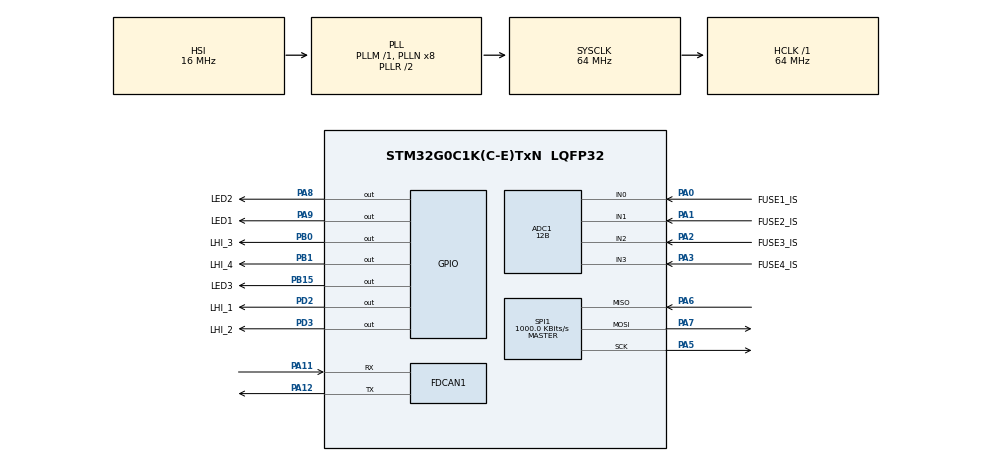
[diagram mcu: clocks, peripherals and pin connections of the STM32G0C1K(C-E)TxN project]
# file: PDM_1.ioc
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ADC1.Channel-0\#ChannelRegularConversion=ADC_CHANNEL_3
ADC1.Channel-1\#ChannelRegularConversion=ADC_CHANNEL_2
ADC1.Channel-2\#ChannelRegularConversion=ADC_CHANNEL_1
ADC1.Channel-3\#ChannelRegularConversion=ADC_CHANNEL_0
ADC1.ClockPrescaler=ADC_CLOCK_ASYNC_DIV8
ADC1.ContinuousConvMode=ENABLE
ADC1.DMAContinuousRequests=ENABLE
ADC1.NbrOfConversion=4
ADC1.NbrOfConversionFlag=1
ADC1.Rank-0\#ChannelRegularConversion=1
ADC1.Rank-1\#ChannelRegularConversion=2
ADC1.Rank-2\#ChannelRegularConversion=3
ADC1.Rank-3\#ChannelRegularConversion=4
ADC1.Resolution=ADC_RESOLUTION_12B
ADC1.SamplingTime-0\#ChannelRegularConversion=ADC_SAMPLINGTIME_COMMON_1
ADC1.SamplingTime-1\#ChannelRegularConversion=ADC_SAMPLINGTIME_COMMON_1
ADC1.SamplingTime-2\#ChannelRegularConversion=ADC_SAMPLINGTIME_COMMON_1
ADC1.SamplingTime-3\#ChannelRegularConversion=ADC_SAMPLINGTIME_COMMON_1
ADC1.SamplingTimeCommon1=ADC_SAMPLETIME_79CYCLES_5
ADC1.SamplingTimeCommon2=ADC_SAMPLETIME_19CYCLES_5
ADC1.SelectedChannel=ADC_CHANNEL_0|ADC_CHANNEL_1|ADC_CHANNEL_2|ADC_CHANNEL_3
ADC1.master=1
Dma.ADC1.0.Direction=DMA_PERIPH_TO_MEMORY
Dma.ADC1.0.EventEnable=DISABLE
Dma.ADC1.0.Instance=DMA1_Channel1
Dma.ADC1.0.MemDataAlignment=DMA_MDATAALIGN_HALFWORD
Dma.ADC1.0.MemInc=DMA_MINC_ENABLE
Dma.ADC1.0.Mode=DMA_CIRCULAR
Dma.ADC1.0.PeriphDataAlignment=DMA_PDATAALIGN_HALFWORD
Dma.ADC1.0.PeriphInc=DMA_PINC_DISABLE
Dma.ADC1.0.Polarity=HAL_DMAMUX_REQ_GEN_RISING
Dma.ADC1.0.Priority=DMA_PRIORITY_LOW
Dma.ADC1.0.RequestNumber=1
Dma.ADC1.0.SignalID=NONE
Dma.ADC1.0.SyncEnable=DISABLE
Dma.ADC1.0.SyncPolarity=HAL_DMAMUX_SYNC_NO_EVENT
Dma.ADC1.0.SyncRequestNumber=1
Dma.ADC1.0.SyncSignalID=NONE
Dma.Request0=ADC1
FDCAN1.CalculateBaudRateNominal=800000
FDCAN1.CalculateTimeBitNominal=1250
FDCAN1.CalculateTimeQuantumNominal=250.0
Mcu.Family=STM32G0
Mcu.Name=STM32G0C1K(C-E)TxN
Mcu.Package=LQFP32
NVIC.ADC1_COMP_IRQn=true\:0\:0\:false\:false\:true\:true\:true\:true
NVIC.DMA1_Channel1_IRQn=true\:0\:0\:false\:false\:true\:false\:true\:true
NVIC.SPI1_IRQn=true\:0\:0\:false\:false\:true\:true\:true\:true
PA0.GPIO_Label=FUSE1_IS
PA0.Mode=IN0
PA0.Signal=ADC1_IN0
PA1.GPIO_Label=FUSE2_IS
PA1.Mode=IN1
PA1.Signal=ADC1_IN1
PA11\ [PA9].Mode=FDCAN_Activate
PA11\ [PA9].Signal=FDCAN1_RX
PA12\ [PA10].Mode=FDCAN_Activate
PA12\ [PA10].Signal=FDCAN1_TX
PA13.Mode=Serial_Wire
PA13.Signal=SYS_SWDIO
PA14-BOOT0.Mode=Serial_Wire
PA14-BOOT0.Signal=SYS_SWCLK
PA2.GPIO_Label=FUSE3_IS
PA2.Mode=IN2
PA2.Signal=ADC1_IN2
PA3.GPIO_Label=FUSE4_IS
PA3.Mode=IN3
PA3.Signal=ADC1_IN3
PA4.Signal=SPI1_NSS
PA5.Mode=Full_Duplex_Master
PA5.Signal=SPI1_SCK
PA6.Mode=Full_Duplex_Master
PA6.Signal=SPI1_MISO
PA7.Mode=Full_Duplex_Master
PA7.Signal=SPI1_MOSI
PA8.GPIO_Label=LED2
PA8.Signal=GPIO_Output
PA9.GPIO_Label=LED1
PA9.Signal=GPIO_Output
PB0.GPIO_Label=LHI_3
PB0.Signal=GPIO_Output
PB1.GPIO_Label=LHI_4
PB1.Signal=GPIO_Output
PB15.GPIO_Label=LED3
PB15.Signal=GPIO_Output
PB6.Signal=USART1_TX
PB7.Signal=USART1_RX
PD2.GPIO_Label=LHI_1
PD2.Signal=GPIO_Output
PD3.GPIO_Label=LHI_2
PD3.Signal=GPIO_Output
ProjectManager.HeapSize=0x200
ProjectManager.StackSize=0x400
ProjectManager.TargetToolchain=STM32CubeIDE
RCC.ADCFreq_Value=64000000
RCC.AHBFreq_Value=64000000
RCC.CortexFreq_Value=64000000
RCC.EXTERNAL_CLOCK_VALUE=48000
RCC.HCLKFreq_Value=64000000
RCC.HSE_VALUE=8000000
RCC.HSI48_VALUE=48000000
RCC.HSI_VALUE=16000000
RCC.LSE_VALUE=32768
RCC.PLLP=RCC_PLLP_DIV4
RCC.PLLQ=RCC_PLLQ_DIV4
RCC.SYSCLKFreq_VALUE=64000000
RCC.SYSCLKSource=RCC_SYSCLKSOURCE_PLLCLK
RCC.USBFreq_Value=48000000
RCC.VCOOutputFreq_Value=128000000
SPI1.BaudRatePrescaler=SPI_BAUDRATEPRESCALER_64
SPI1.CalculateBaudRate=1000.0 KBits/s
SPI1.Direction=SPI_DIRECTION_2LINES
SPI1.Mode=SPI_MODE_MASTER
SPI1.VirtualType=VM_MASTER
VP_SYS_VS_DBSignals.Mode=DisableDeadBatterySignals
board=custom

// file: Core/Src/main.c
/* USER CODE BEGIN Header */
/**
  ******************************************************************************
  * @file           : main.c
  * @brief          : Main program body
  ******************************************************************************
  * @attention
  *
  * Copyright (c) 2024 STMicroelectronics.
  * All rights reserved.
  *
  * This software is licensed under terms that can be found in the LICENSE file
  * in the root directory of this software component.
  * If no LICENSE file comes with this software, it is provided AS-IS.
  *
  ******************************************************************************
  */
/* USER CODE END Header */
#include "main.h"

/* USER CODE BEGIN Includes */
#include <stdio.h>
/* USER CODE END Includes */

/* USER CODE BEGIN PD */
#define ADC_BUF_SIZE 4
#define __VREFANALOG_VOLTAGE__ 3300
#define OUT_READY 0x9F // 1000 1111
#define OUT_READY1 0x9F // 1000 1111
#define DCR_ACTIVE 0xF5 // 1111 0101
#define DCR_SLEEP 0xFF // 1111 1111
#define DCR_CHANNEL0 0xF8 // 1111 1000
#define DCR_CHANNEL1 0xF9 // 1111 1001
#define DCR_CHANNEL2 0xFA // 1111 1010
#define DCR_CHANNEL3 0xFB // 1111 1011
// Diagnosis Registers - Read Commands
#define WRNDIAG 0x01// 0000 0001
#define STDDIAG 0x02// 0000 0010
#define ERRDIAG 0x03// 0000 0011
// Configuration Registers - Read Commands
#define OUT_READ 0x00 // 0000 0000
#define RCS_READ 0x08 // 0000 1000
#define SRC_READ 0x09 // 0000 1001
#define OCR_READ 0x04 // 0000 0100
#define RCD_READ 0x0A // 0000 1100
#define KRC_READ 0x05 // 0000 0101
#define PCS_READ 0x0B // 0000 1101
#define HWCR_READ 0x05 // 0000 0110
#define ICS_READ 0x0B // 0000 1110
#define DCR_READ 0x07 // 0000 0111

/* USER CODE END PD */

ADC_HandleTypeDef hadc1;
DMA_HandleTypeDef hdma_adc1;

FDCAN_HandleTypeDef hfdcan1;

SPI_HandleTypeDef hspi1;

/* USER CODE BEGIN PV */
uint16_t adc_buffer[ADC_BUF_SIZE];
uint8_t adc_ready = 0;

uint8_t tx_buffer[5];
uint8_t rx_buffer[5 * 5];

uint32_t fuse1_is;
uint32_t fuse2_is;
uint32_t fuse3_is;
uint32_t fuse4_is;
int status_csn=2;
/* USER CODE END PV */

void SystemClock_Config(void);
static void MX_GPIO_Init(void);
static void MX_DMA_Init(void);
static void MX_FDCAN1_Init(void);
static void MX_SPI1_Init(void);
static void MX_ADC1_Init(void);

/* USER CODE BEGIN 0 */

volatile int error[5];
/* USER CODE END 0 */

int main(void)
{

  /* MCU Configuration--------------------------------------------------------*/

  /* Reset of all peripherals, Initializes the Flash interface and the Systick. */
  HAL_Init();

  /* Configure the system clock */
  SystemClock_Config();

  /* Initialize all configured peripherals */
  MX_GPIO_Init();
  MX_DMA_Init();
  MX_FDCAN1_Init();
  MX_SPI1_Init();
  MX_ADC1_Init();
  /* USER CODE BEGIN 2 */
  HAL_GPIO_WritePin(GPIOD, GPIO_PIN_2, GPIO_PIN_RESET);
  HAL_GPIO_WritePin(GPIOD, GPIO_PIN_3, GPIO_PIN_RESET);
  HAL_GPIO_WritePin(GPIOB, GPIO_PIN_0, GPIO_PIN_RESET);
  HAL_GPIO_WritePin(GPIOB, GPIO_PIN_1, GPIO_PIN_RESET);
  //HAL_SPI_TransmitReceive(&hspi1, tx_buffer, rx_buffer, 10, 100);
  // sleep -> ready
  tx_buffer[0] = OUT_READY;
  tx_buffer[1] = OUT_READY;
  tx_buffer[2] = OUT_READY;
  tx_buffer[3] = OUT_READY;
  HAL_GPIO_WritePin(GPIOA, GPIO_PIN_4, GPIO_PIN_RESET);
  error[0] = HAL_SPI_TransmitReceive(&hspi1, tx_buffer, rx_buffer + 0, 5, 100);
  HAL_GPIO_WritePin(GPIOA, GPIO_PIN_4, GPIO_PIN_SET);
  // ready -> active
  tx_buffer[0] = DCR_ACTIVE;
  tx_buffer[1] = DCR_ACTIVE;
  tx_buffer[2] = DCR_ACTIVE;
  tx_buffer[3] = DCR_ACTIVE;
  HAL_GPIO_WritePin(GPIOA, GPIO_PIN_4, GPIO_PIN_RESET);
  error[1] = HAL_SPI_TransmitReceive(&hspi1, tx_buffer, rx_buffer + 5, 5, 100);
  HAL_GPIO_WritePin(GPIOA, GPIO_PIN_4, GPIO_PIN_SET);
  // select channel 0
  tx_buffer[0] = OUT_READY;
  tx_buffer[1] = OUT_READY;
  tx_buffer[2] = OUT_READY;
  tx_buffer[3] = OUT_READY;
  HAL_GPIO_WritePin(GPIOA, GPIO_PIN_4, GPIO_PIN_RESET);
  error[2] = HAL_SPI_TransmitReceive(&hspi1, tx_buffer, rx_buffer + 10, 5, 100);
  HAL_GPIO_WritePin(GPIOA, GPIO_PIN_4, GPIO_PIN_SET);
  // status
  tx_buffer[0] = DCR_CHANNEL0;
  tx_buffer[1] = DCR_CHANNEL0;
  tx_buffer[2] = DCR_CHANNEL0;
  tx_buffer[3] = DCR_CHANNEL0;
  HAL_GPIO_WritePin(GPIOA, GPIO_PIN_4, GPIO_PIN_RESET);
  error[3] = HAL_SPI_TransmitReceive(&hspi1, tx_buffer, rx_buffer + 15, 5, 100);
  HAL_GPIO_WritePin(GPIOA, GPIO_PIN_4, GPIO_PIN_SET);

  // out read
    tx_buffer[0] = DCR_READ;
    tx_buffer[1] = DCR_READ;
    tx_buffer[2] = DCR_READ;
    tx_buffer[3] = DCR_READ;
    HAL_GPIO_WritePin(GPIOA, GPIO_PIN_4, GPIO_PIN_RESET);
    error[4] = HAL_SPI_TransmitReceive(&hspi1, tx_buffer, rx_buffer + 20, 5, 100);
    HAL_GPIO_WritePin(GPIOA, GPIO_PIN_4, GPIO_PIN_SET);
  // status dcr read
//  tx_buffer[0] = OCR_READ;
//  tx_buffer[1] = OCR_READ;
//  tx_buffer[2] = OCR_READ;
//  tx_buffer[3] = OCR_READ;
//  error[3] = HAL_SPI_TransmitReceive(&hspi1, tx_buffer, rx_buffer + 15, 5, 100);

  //
  //HAL_ADCEx_Calibration_Start(&hadc1);
  HAL_ADC_Start_DMA(&hadc1, adc_buffer, ADC_BUF_SIZE);

  //HAL_TIM_Base_Start(&htim2);

  /* USER CODE END 2 */

  /* Infinite loop */
  /* USER CODE BEGIN WHILE */
  while (1)
  {
//	  while(adc_ready != 1){
//
//	  }
	  HAL_Delay(100);

	  HAL_GPIO_TogglePin(LED1_GPIO_Port, LED1_Pin);
	  adc_ready = 0;
	  fuse1_is = __HAL_ADC_CALC_DATA_TO_VOLTAGE(__VREFANALOG_VOLTAGE__, adc_buffer[0], ADC_RESOLUTION12b);
	  fuse2_is = __HAL_ADC_CALC_DATA_TO_VOLTAGE(__VREFANALOG_VOLTAGE__, adc_buffer[1], ADC_RESOLUTION12b);
	  fuse3_is = __HAL_ADC_CALC_DATA_TO_VOLTAGE(__VREFANALOG_VOLTAGE__, adc_buffer[2], ADC_RESOLUTION12b);
	  fuse4_is = __HAL_ADC_CALC_DATA_TO_VOLTAGE(__VREFANALOG_VOLTAGE__, adc_buffer[3], ADC_RESOLUTION12b);

    /* USER CODE END WHILE */

  }
}

void SystemClock_Config(void)
{
  RCC_OscInitTypeDef RCC_OscInitStruct = {0};
  RCC_ClkInitTypeDef RCC_ClkInitStruct = {0};

  /** Configure the main internal regulator output voltage
  */
  HAL_PWREx_ControlVoltageScaling(PWR_REGULATOR_VOLTAGE_SCALE1);

  /** Initializes the RCC Oscillators according to the specified parameters
  * in the RCC_OscInitTypeDef structure.
  */
  RCC_OscInitStruct.OscillatorType = RCC_OSCILLATORTYPE_HSI;
  RCC_OscInitStruct.HSIState = RCC_HSI_ON;
  RCC_OscInitStruct.HSIDiv = RCC_HSI_DIV1;
  RCC_OscInitStruct.HSICalibrationValue = RCC_HSICALIBRATION_DEFAULT;
  RCC_OscInitStruct.PLL.PLLState = RCC_PLL_ON;
  RCC_OscInitStruct.PLL.PLLSource = RCC_PLLSOURCE_HSI;
  RCC_OscInitStruct.PLL.PLLM = RCC_PLLM_DIV1;
  RCC_OscInitStruct.PLL.PLLN = 8;
  RCC_OscInitStruct.PLL.PLLP = RCC_PLLP_DIV4;
  RCC_OscInitStruct.PLL.PLLQ = RCC_PLLQ_DIV4;
  RCC_OscInitStruct.PLL.PLLR = RCC_PLLR_DIV2;
  if (HAL_RCC_OscConfig(&RCC_OscInitStruct) != HAL_OK)
  {
    Error_Handler();
  }

  /** Initializes the CPU, AHB and APB buses clocks
  */
  RCC_ClkInitStruct.ClockType = RCC_CLOCKTYPE_HCLK|RCC_CLOCKTYPE_SYSCLK
                              |RCC_CLOCKTYPE_PCLK1;
  RCC_ClkInitStruct.SYSCLKSource = RCC_SYSCLKSOURCE_PLLCLK;
  RCC_ClkInitStruct.AHBCLKDivider = RCC_SYSCLK_DIV1;
  RCC_ClkInitStruct.APB1CLKDivider = RCC_HCLK_DIV1;

  if (HAL_RCC_ClockConfig(&RCC_ClkInitStruct, FLASH_LATENCY_2) != HAL_OK)
  {
    Error_Handler();
  }
}

static void MX_ADC1_Init(void)
{

  ADC_ChannelConfTypeDef sConfig = {0};

  /** Configure the global features of the ADC (Clock, Resolution, Data Alignment and number of conversion)
  */
  hadc1.Instance = ADC1;
  hadc1.Init.ClockPrescaler = ADC_CLOCK_ASYNC_DIV8;
  hadc1.Init.Resolution = ADC_RESOLUTION_12B;
  hadc1.Init.DataAlign = ADC_DATAALIGN_RIGHT;
  hadc1.Init.ScanConvMode = ADC_SCAN_ENABLE;
  hadc1.Init.EOCSelection = ADC_EOC_SINGLE_CONV;
  hadc1.Init.LowPowerAutoWait = DISABLE;
  hadc1.Init.LowPowerAutoPowerOff = DISABLE;
  hadc1.Init.ContinuousConvMode = ENABLE;
  hadc1.Init.NbrOfConversion = 4;
  hadc1.Init.ExternalTrigConv = ADC_SOFTWARE_START;
  hadc1.Init.ExternalTrigConvEdge = ADC_EXTERNALTRIGCONVEDGE_NONE;
  hadc1.Init.DMAContinuousRequests = ENABLE;
  hadc1.Init.Overrun = ADC_OVR_DATA_PRESERVED;
  hadc1.Init.SamplingTimeCommon1 = ADC_SAMPLETIME_79CYCLES_5;
  hadc1.Init.SamplingTimeCommon2 = ADC_SAMPLETIME_19CYCLES_5;
  hadc1.Init.OversamplingMode = DISABLE;
  hadc1.Init.TriggerFrequencyMode = ADC_TRIGGER_FREQ_HIGH;
  if (HAL_ADC_Init(&hadc1) != HAL_OK)
  {
    Error_Handler();
  }

  /** Configure Regular Channel
  */
  sConfig.Channel = ADC_CHANNEL_3;
  sConfig.Rank = ADC_REGULAR_RANK_1;
  sConfig.SamplingTime = ADC_SAMPLINGTIME_COMMON_1;
  if (HAL_ADC_ConfigChannel(&hadc1, &sConfig) != HAL_OK)
  {
    Error_Handler();
  }

  /** Configure Regular Channel
  */
  sConfig.Channel = ADC_CHANNEL_2;
  sConfig.Rank = ADC_REGULAR_RANK_2;
  if (HAL_ADC_ConfigChannel(&hadc1, &sConfig) != HAL_OK)
  {
    Error_Handler();
  }

  /** Configure Regular Channel
  */
  sConfig.Channel = ADC_CHANNEL_1;
  sConfig.Rank = ADC_REGULAR_RANK_3;
  if (HAL_ADC_ConfigChannel(&hadc1, &sConfig) != HAL_OK)
  {
    Error_Handler();
  }

  /** Configure Regular Channel
  */
  sConfig.Channel = ADC_CHANNEL_0;
  sConfig.Rank = ADC_REGULAR_RANK_4;
  if (HAL_ADC_ConfigChannel(&hadc1, &sConfig) != HAL_OK)
  {
    Error_Handler();
  }

}

static void MX_FDCAN1_Init(void)
{

  hfdcan1.Instance = FDCAN1;
  hfdcan1.Init.ClockDivider = FDCAN_CLOCK_DIV1;
  hfdcan1.Init.FrameFormat = FDCAN_FRAME_CLASSIC;
  hfdcan1.Init.Mode = FDCAN_MODE_NORMAL;
  hfdcan1.Init.AutoRetransmission = DISABLE;
  hfdcan1.Init.TransmitPause = DISABLE;
  hfdcan1.Init.ProtocolException = DISABLE;
  hfdcan1.Init.NominalPrescaler = 16;
  hfdcan1.Init.NominalSyncJumpWidth = 1;
  hfdcan1.Init.NominalTimeSeg1 = 2;
  hfdcan1.Init.NominalTimeSeg2 = 2;
  hfdcan1.Init.DataPrescaler = 1;
  hfdcan1.Init.DataSyncJumpWidth = 1;
  hfdcan1.Init.DataTimeSeg1 = 1;
  hfdcan1.Init.DataTimeSeg2 = 1;
  hfdcan1.Init.StdFiltersNbr = 0;
  hfdcan1.Init.ExtFiltersNbr = 0;
  hfdcan1.Init.TxFifoQueueMode = FDCAN_TX_FIFO_OPERATION;
  if (HAL_FDCAN_Init(&hfdcan1) != HAL_OK)
  {
    Error_Handler();
  }

}

static void MX_SPI1_Init(void)
{

  /* SPI1 parameter configuration*/
  hspi1.Instance = SPI1;
  hspi1.Init.Mode = SPI_MODE_MASTER;
  hspi1.Init.Direction = SPI_DIRECTION_2LINES;
  hspi1.Init.DataSize = SPI_DATASIZE_8BIT;
  hspi1.Init.CLKPolarity = SPI_POLARITY_LOW;
  hspi1.Init.CLKPhase = SPI_PHASE_1EDGE;
  hspi1.Init.NSS = SPI_NSS_SOFT;
  hspi1.Init.BaudRatePrescaler = SPI_BAUDRATEPRESCALER_64;
  hspi1.Init.FirstBit = SPI_FIRSTBIT_MSB;
  hspi1.Init.TIMode = SPI_TIMODE_DISABLE;
  hspi1.Init.CRCCalculation = SPI_CRCCALCULATION_DISABLE;
  hspi1.Init.CRCPolynomial = 7;
  hspi1.Init.CRCLength = SPI_CRC_LENGTH_DATASIZE;
  hspi1.Init.NSSPMode = SPI_NSS_PULSE_ENABLE;
  if (HAL_SPI_Init(&hspi1) != HAL_OK)
  {
    Error_Handler();
  }

}

static void MX_DMA_Init(void)
{

  /* DMA controller clock enable */
  __HAL_RCC_DMA1_CLK_ENABLE();

  /* DMA interrupt init */
  /* DMA1_Channel1_IRQn interrupt configuration */
  HAL_NVIC_SetPriority(DMA1_Channel1_IRQn, 0, 0);
  HAL_NVIC_EnableIRQ(DMA1_Channel1_IRQn);

}

static void MX_GPIO_Init(void)
{
  GPIO_InitTypeDef GPIO_InitStruct = {0};

  /* GPIO Ports Clock Enable */
  __HAL_RCC_GPIOA_CLK_ENABLE();
  __HAL_RCC_GPIOB_CLK_ENABLE();
  __HAL_RCC_GPIOD_CLK_ENABLE();

  /*Configure GPIO pin Output Level */
  HAL_GPIO_WritePin(GPIOB, LHI_3_Pin|LHI_4_Pin|LED3_Pin, GPIO_PIN_RESET);

  /*Configure GPIO pin Output Level */
  HAL_GPIO_WritePin(GPIOA, LED2_Pin|LED1_Pin, GPIO_PIN_RESET);

  /*Configure GPIO pin Output Level */
  HAL_GPIO_WritePin(GPIOD, LHI_1_Pin|LHI_2_Pin, GPIO_PIN_RESET);

  /*Configure GPIO pins : LHI_3_Pin LHI_4_Pin LED3_Pin */
  GPIO_InitStruct.Pin = LHI_3_Pin|LHI_4_Pin|LED3_Pin;
  GPIO_InitStruct.Mode = GPIO_MODE_OUTPUT_PP;
  GPIO_InitStruct.Pull = GPIO_NOPULL;
  GPIO_InitStruct.Speed = GPIO_SPEED_FREQ_LOW;
  HAL_GPIO_Init(GPIOB, &GPIO_InitStruct);

  /*Configure GPIO pins : LED2_Pin LED1_Pin */
  GPIO_InitStruct.Pin = LED2_Pin|LED1_Pin;
  GPIO_InitStruct.Mode = GPIO_MODE_OUTPUT_PP;
  GPIO_InitStruct.Pull = GPIO_NOPULL;
  GPIO_InitStruct.Speed = GPIO_SPEED_FREQ_LOW;
  HAL_GPIO_Init(GPIOA, &GPIO_InitStruct);

  /*Configure GPIO pins : LHI_1_Pin LHI_2_Pin */
  GPIO_InitStruct.Pin = LHI_1_Pin|LHI_2_Pin;
  GPIO_InitStruct.Mode = GPIO_MODE_OUTPUT_PP;
  GPIO_InitStruct.Pull = GPIO_NOPULL;
  GPIO_InitStruct.Speed = GPIO_SPEED_FREQ_LOW;
  HAL_GPIO_Init(GPIOD, &GPIO_InitStruct);

  /*Configure GPIO pins : PB6 PB7 */
  GPIO_InitStruct.Pin = GPIO_PIN_6|GPIO_PIN_7;
  GPIO_InitStruct.Mode = GPIO_MODE_AF_PP;
  GPIO_InitStruct.Pull = GPIO_NOPULL;
  GPIO_InitStruct.Speed = GPIO_SPEED_FREQ_LOW;
  GPIO_InitStruct.Alternate = GPIO_AF0_USART1;
  HAL_GPIO_Init(GPIOB, &GPIO_InitStruct);

}

/* USER CODE BEGIN 4 */

//void HAL_ADC_ConvCpltCallback(ADC_HandleTypeDef *hadc)
//{
//  /* Prevent unused argument(s) compilation warning */
//  UNUSED(hadc);
//  adc_ready = 1;
//  HAL_ADC_Stop_DMA(&hadc1);
//
//  /* NOTE : This function should not be modified. When the callback is needed,
//            function HAL_ADC_ConvCpltCallback must be implemented in the user file.
//   */
//}
/* USER CODE END 4 */

void Error_Handler(void)
{
  __disable_irq();
  while (1)
  {
  }
}
